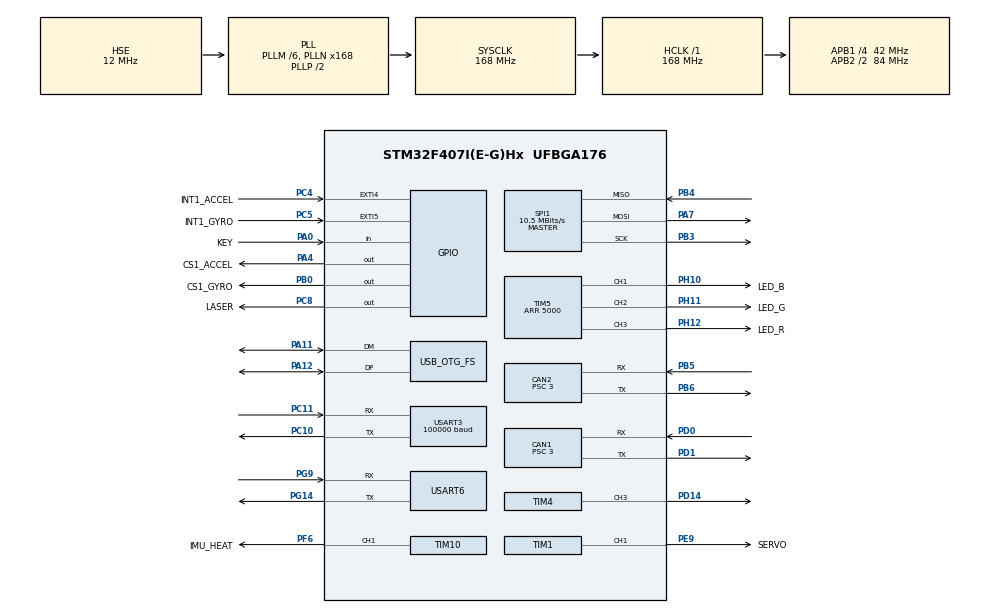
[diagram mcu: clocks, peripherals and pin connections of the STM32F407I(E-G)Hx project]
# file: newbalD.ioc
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CAN1.BS1=CAN_BS1_11TQ
CAN1.BS2=CAN_BS2_2TQ
CAN1.CalculateBaudRate=1000000
CAN1.CalculateTimeBit=1000
CAN1.CalculateTimeQuantum=71.42857142857143
CAN1.Prescaler=3
CAN2.BS1=CAN_BS1_11TQ
CAN2.BS2=CAN_BS2_2TQ
CAN2.CalculateBaudRate=1000000
CAN2.CalculateTimeBit=1000
CAN2.CalculateTimeQuantum=71.42857142857143
CAN2.Prescaler=3
Dma.Request0=SPI1_RX
Dma.Request1=SPI1_TX
Dma.Request2=USART3_RX
Dma.Request3=USART6_RX
Dma.Request4=USART6_TX
Dma.SPI1_RX.0.Direction=DMA_PERIPH_TO_MEMORY
Dma.SPI1_RX.0.FIFOMode=DMA_FIFOMODE_DISABLE
Dma.SPI1_RX.0.Instance=DMA2_Stream2
Dma.SPI1_RX.0.MemDataAlignment=DMA_MDATAALIGN_BYTE
Dma.SPI1_RX.0.MemInc=DMA_MINC_ENABLE
Dma.SPI1_RX.0.Mode=DMA_NORMAL
Dma.SPI1_RX.0.PeriphDataAlignment=DMA_PDATAALIGN_BYTE
Dma.SPI1_RX.0.PeriphInc=DMA_PINC_DISABLE
Dma.SPI1_RX.0.Priority=DMA_PRIORITY_VERY_HIGH
Dma.SPI1_TX.1.Direction=DMA_MEMORY_TO_PERIPH
Dma.SPI1_TX.1.FIFOMode=DMA_FIFOMODE_DISABLE
Dma.SPI1_TX.1.Instance=DMA2_Stream3
Dma.SPI1_TX.1.MemDataAlignment=DMA_MDATAALIGN_BYTE
Dma.SPI1_TX.1.MemInc=DMA_MINC_ENABLE
Dma.SPI1_TX.1.Mode=DMA_NORMAL
Dma.SPI1_TX.1.PeriphDataAlignment=DMA_PDATAALIGN_BYTE
Dma.SPI1_TX.1.PeriphInc=DMA_PINC_DISABLE
Dma.SPI1_TX.1.Priority=DMA_PRIORITY_HIGH
Dma.USART3_RX.2.Direction=DMA_PERIPH_TO_MEMORY
Dma.USART3_RX.2.FIFOMode=DMA_FIFOMODE_DISABLE
Dma.USART3_RX.2.Instance=DMA1_Stream1
Dma.USART3_RX.2.MemDataAlignment=DMA_MDATAALIGN_BYTE
Dma.USART3_RX.2.MemInc=DMA_MINC_ENABLE
Dma.USART3_RX.2.Mode=DMA_CIRCULAR
Dma.USART3_RX.2.PeriphDataAlignment=DMA_PDATAALIGN_BYTE
Dma.USART3_RX.2.PeriphInc=DMA_PINC_DISABLE
Dma.USART3_RX.2.Priority=DMA_PRIORITY_VERY_HIGH
Dma.USART6_RX.3.Direction=DMA_PERIPH_TO_MEMORY
Dma.USART6_RX.3.FIFOMode=DMA_FIFOMODE_DISABLE
Dma.USART6_RX.3.Instance=DMA2_Stream1
Dma.USART6_RX.3.MemDataAlignment=DMA_MDATAALIGN_BYTE
Dma.USART6_RX.3.MemInc=DMA_MINC_ENABLE
Dma.USART6_RX.3.Mode=DMA_CIRCULAR
Dma.USART6_RX.3.PeriphDataAlignment=DMA_PDATAALIGN_BYTE
Dma.USART6_RX.3.PeriphInc=DMA_PINC_DISABLE
Dma.USART6_RX.3.Priority=DMA_PRIORITY_HIGH
Dma.USART6_TX.4.Direction=DMA_MEMORY_TO_PERIPH
Dma.USART6_TX.4.FIFOMode=DMA_FIFOMODE_DISABLE
Dma.USART6_TX.4.Instance=DMA2_Stream6
Dma.USART6_TX.4.MemDataAlignment=DMA_MDATAALIGN_BYTE
Dma.USART6_TX.4.MemInc=DMA_MINC_ENABLE
Dma.USART6_TX.4.Mode=DMA_CIRCULAR
Dma.USART6_TX.4.PeriphDataAlignment=DMA_PDATAALIGN_BYTE
Dma.USART6_TX.4.PeriphInc=DMA_PINC_DISABLE
Dma.USART6_TX.4.Priority=DMA_PRIORITY_MEDIUM
FREERTOS.INCLUDE_eTaskGetState=1
FREERTOS.INCLUDE_pcTaskGetTaskName=1
FREERTOS.INCLUDE_uxTaskGetStackHighWaterMark=1
FREERTOS.INCLUDE_vTaskCleanUpResources=1
FREERTOS.INCLUDE_vTaskDelayUntil=1
FREERTOS.INCLUDE_xEventGroupSetBitFromISR=1
FREERTOS.INCLUDE_xQueueGetMutexHolder=1
FREERTOS.INCLUDE_xSemaphoreGetMutexHolder=1
FREERTOS.INCLUDE_xTaskAbortDelay=1
FREERTOS.INCLUDE_xTaskGetCurrentTaskHandle=1
FREERTOS.INCLUDE_xTaskGetHandle=1
FREERTOS.INCLUDE_xTimerPendFunctionCall=1
FREERTOS.Tasks01=INSTask,3,1024,StartINSTask,Default,NULL,Dynamic,NULL,NULL;ChassisTask,0,256,StartChassisTask,Default,NULL,Dynamic,NULL,NULL;ModuleTask,0,256,StartModuleTask,Default,NULL,Dynamic,NULL,NULL;PIDTask,-2,256,StartPIDTask,Default,NULL,Dynamic,NULL,NULL;MasterLinkTask,1,256,StartMasterLinkTask,Default,NULL,Dynamic,NULL,NULL;Refree_Task,0,256,StartRefree,Default,NULL,Dynamic,NULL,NULL
FREERTOS.configTOTAL_HEAP_SIZE=24576
FREERTOS.configUSE_TIMERS=1
Mcu.Family=STM32F4
Mcu.Name=STM32F407I(E-G)Hx
Mcu.Package=UFBGA176
NVIC.CAN1_RX0_IRQn=true\:5\:0\:false\:false\:true\:true\:true\:true\:true
NVIC.CAN2_RX1_IRQn=true\:5\:0\:false\:false\:true\:true\:true\:true\:true
NVIC.DMA1_Stream1_IRQn=true\:5\:0\:false\:false\:true\:true\:false\:true\:true
NVIC.DMA2_Stream1_IRQn=true\:5\:0\:false\:false\:true\:true\:false\:true\:true
NVIC.DMA2_Stream2_IRQn=true\:5\:0\:false\:false\:true\:false\:false\:true\:true
NVIC.DMA2_Stream3_IRQn=true\:5\:0\:false\:false\:true\:true\:false\:true\:true
NVIC.DMA2_Stream6_IRQn=true\:5\:0\:false\:false\:true\:true\:false\:true\:true
NVIC.EXTI4_IRQn=true\:5\:0\:false\:false\:true\:true\:true\:true\:true
NVIC.EXTI9_5_IRQn=true\:5\:0\:false\:false\:true\:true\:true\:true\:true
NVIC.OTG_FS_IRQn=true\:5\:0\:false\:false\:true\:true\:true\:true\:true
NVIC.PriorityGroup=NVIC_PRIORITYGROUP_4
NVIC.TIM8_TRG_COM_TIM14_IRQn=true\:15\:0\:false\:false\:true\:false\:false\:true\:true
NVIC.TimeBase=TIM8_TRG_COM_TIM14_IRQn
NVIC.TimeBaseIP=TIM14
NVIC.USART3_IRQn=true\:5\:0\:true\:false\:true\:true\:true\:true\:true
NVIC.USART6_IRQn=true\:5\:0\:false\:false\:true\:true\:true\:true\:true
PA0-WKUP.GPIO_Label=KEY
PA0-WKUP.GPIO_PuPd=GPIO_PULLUP
PA0-WKUP.Signal=GPIO_Input
PA11.Mode=Device_Only
PA11.Signal=USB_OTG_FS_DM
PA12.Mode=Device_Only
PA12.Signal=USB_OTG_FS_DP
PA13.Mode=Serial_Wire
PA13.Signal=SYS_JTMS-SWDIO
PA14.Mode=Serial_Wire
PA14.Signal=SYS_JTCK-SWCLK
PA4.GPIO_Label=CS1_ACCEL
PA4.GPIO_PuPd=GPIO_PULLUP
PA4.GPIO_Speed=GPIO_SPEED_FREQ_HIGH
PA4.PinState=GPIO_PIN_SET
PA4.Signal=GPIO_Output
PA7.GPIO_PuPd=GPIO_PULLUP
PA7.Mode=Full_Duplex_Master
PA7.Signal=SPI1_MOSI
PB0.GPIO_Label=CS1_GYRO
PB0.GPIO_PuPd=GPIO_PULLUP
PB0.GPIO_Speed=GPIO_SPEED_FREQ_HIGH
PB0.PinState=GPIO_PIN_SET
PB0.Signal=GPIO_Output
PB3.GPIO_PuPd=GPIO_PULLUP
PB3.Mode=Full_Duplex_Master
PB3.Signal=SPI1_SCK
PB4.GPIO_PuPd=GPIO_PULLUP
PB4.Mode=Full_Duplex_Master
PB4.Signal=SPI1_MISO
PB5.Mode=CAN_Activate
PB5.Signal=CAN2_RX
PB6.Mode=CAN_Activate
PB6.Signal=CAN2_TX
PC10.Mode=Asynchronous
PC10.Signal=USART3_TX
PC11.Mode=Asynchronous
PC11.Signal=USART3_RX
PC4.GPIO_Label=INT1_ACCEL
PC4.GPIO_ModeDefaultEXTI=GPIO_MODE_IT_FALLING
PC4.GPIO_PuPd=GPIO_PULLUP
PC4.Signal=GPXTI4
PC5.GPIO_Label=INT1_GYRO
PC5.GPIO_ModeDefaultEXTI=GPIO_MODE_IT_FALLING
PC5.GPIO_PuPd=GPIO_PULLUP
PC5.Signal=GPXTI5
PC8.GPIO_Label=LASER
PC8.Signal=GPIO_Output
PD0.Mode=CAN_Activate
PD0.Signal=CAN1_RX
PD1.Mode=CAN_Activate
PD1.Signal=CAN1_TX
PD14.Signal=S_TIM4_CH3
PE9.GPIO_Label=SERVO
PE9.Signal=S_TIM1_CH1
PF6.GPIO_Label=IMU_HEAT
PF6.GPIO_PuPd=GPIO_PULLUP
PF6.GPIO_Speed=GPIO_SPEED_FREQ_HIGH
PF6.Signal=S_TIM10_CH1
PG14.Mode=Asynchronous
PG14.Signal=USART6_TX
PG9.Mode=Asynchronous
PG9.Signal=USART6_RX
PH0-OSC_IN.Mode=HSE-External-Oscillator
PH0-OSC_IN.Signal=RCC_OSC_IN
PH1-OSC_OUT.Mode=HSE-External-Oscillator
PH1-OSC_OUT.Signal=RCC_OSC_OUT
PH10.GPIO_Label=LED_B
PH10.Signal=S_TIM5_CH1
PH11.GPIO_Label=LED_G
PH11.Signal=S_TIM5_CH2
PH12.GPIO_Label=LED_R
PH12.Signal=S_TIM5_CH3
ProjectManager.HeapSize=0x2000
ProjectManager.StackSize=0x2000
ProjectManager.TargetToolchain=MDK-ARM V5.32
RCC.48MHZClocksFreq_Value=48000000
RCC.AHBFreq_Value=168000000
RCC.APB1CLKDivider=RCC_HCLK_DIV4
RCC.APB1Freq_Value=42000000
RCC.APB1TimFreq_Value=84000000
RCC.APB2CLKDivider=RCC_HCLK_DIV2
RCC.APB2Freq_Value=84000000
RCC.APB2TimFreq_Value=168000000
RCC.CortexFreq_Value=168000000
RCC.HCLKFreq_Value=168000000
RCC.HSE_VALUE=12000000
RCC.HSI_VALUE=16000000
RCC.LSE_VALUE=32768
RCC.PLLM=6
RCC.PLLN=168
RCC.PLLQ=7
RCC.SYSCLKFreq_VALUE=168000000
RCC.SYSCLKSource=RCC_SYSCLKSOURCE_PLLCLK
RCC.VCOOutputFreq_Value=336000000
SH.S_TIM10_CH1.0=TIM10_CH1,PWM Generation1 CH1
SH.S_TIM1_CH1.0=TIM1_CH1,PWM Generation1 CH1
SH.S_TIM4_CH3.0=TIM4_CH3,PWM Generation3 CH3
SH.S_TIM5_CH1.0=TIM5_CH1,PWM Generation1 CH1
SH.S_TIM5_CH2.0=TIM5_CH2,PWM Generation2 CH2
SH.S_TIM5_CH3.0=TIM5_CH3,PWM Generation3 CH3
SPI1.BaudRatePrescaler=SPI_BAUDRATEPRESCALER_8
SPI1.CLKPhase=SPI_PHASE_2EDGE
SPI1.CLKPolarity=SPI_POLARITY_HIGH
SPI1.CalculateBaudRate=10.5 MBits/s
SPI1.Direction=SPI_DIRECTION_2LINES
SPI1.Mode=SPI_MODE_MASTER
SPI1.VirtualType=VM_MASTER
TIM1.Channel-PWM\ Generation1\ CH1=TIM_CHANNEL_1
TIM1.Period=20000-1
TIM1.Prescaler=168-1
TIM10.Channel=TIM_CHANNEL_1
TIM10.Period=2000-1
TIM10.Prescaler=84-1
TIM2.Prescaler=84-1
TIM4.AutoReloadPreload=TIM_AUTORELOAD_PRELOAD_DISABLE
TIM4.Channel-PWM\ Generation3\ CH3=TIM_CHANNEL_3
TIM4.Period=10000-1
TIM4.Prescaler=1
TIM5.Channel-PWM\ Generation1\ CH1=TIM_CHANNEL_1
TIM5.Channel-PWM\ Generation2\ CH2=TIM_CHANNEL_2
TIM5.Channel-PWM\ Generation3\ CH3=TIM_CHANNEL_3
TIM5.Period=5000
TIM6.Prescaler=84-1
USART3.BaudRate=100000
USART3.Parity=PARITY_EVEN
USART3.StopBits=STOPBITS_2
USART3.VirtualMode=VM_ASYNC
USART3.WordLength=WORDLENGTH_9B
USART6.VirtualMode=VM_ASYNC
USB_DEVICE.CLASS_NAME_FS=CDC
USB_DEVICE.VirtualMode-CDC_FS=Cdc
USB_DEVICE.VirtualModeFS=Cdc_FS
USB_OTG_FS.VirtualMode=Device_Only
VP_FREERTOS_VS_CMSIS_V1.Mode=CMSIS_V1
VP_SYS_VS_tim14.Mode=TIM14
VP_TIM10_VS_ClockSourceINT.Mode=Enable_Timer
VP_TIM1_VS_ClockSourceINT.Mode=Internal
VP_TIM2_VS_ClockSourceINT.Mode=Internal
VP_TIM4_VS_ClockSourceINT.Mode=Internal
VP_TIM5_VS_ClockSourceINT.Mode=Internal
VP_TIM6_VS_ClockSourceINT.Mode=Enable_Timer
VP_USB_DEVICE_VS_USB_DEVICE_CDC_FS.Mode=CDC_FS
board=custom

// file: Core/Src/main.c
/* USER CODE BEGIN Header */
/**
  ******************************************************************************
  * @file           : main.c
  * @brief          : Main program body
  ******************************************************************************
  * @attention
  *
  * Copyright (c) 2024 STMicroelectronics.
  * All rights reserved.
  *
  * This software is licensed under terms that can be found in the LICENSE file
  * in the root directory of this software component.
  * If no LICENSE file comes with this software, it is provided AS-IS.
  *
  ******************************************************************************
  */
/* USER CODE END Header */
#include "main.h"
#include "cmsis_os.h"
#include "can.h"
#include "dma.h"
#include "spi.h"
#include "tim.h"
#include "usart.h"
#include "usb_device.h"
#include "gpio.h"

/* USER CODE BEGIN Includes */

#include "sys.h"
#include "app_9025.h"

/* USER CODE END Includes */

void SystemClock_Config(void);
void MX_FREERTOS_Init(void);

int main(void)
{

  /* MCU Configuration--------------------------------------------------------*/

  /* Reset of all peripherals, Initializes the Flash interface and the Systick. */
  HAL_Init();

  /* Configure the system clock */
  SystemClock_Config();

  /* Initialize all configured peripherals */
  MX_GPIO_Init();
  MX_DMA_Init();
  MX_CAN1_Init();
  MX_CAN2_Init();
  MX_SPI1_Init();
  MX_TIM1_Init();
  MX_TIM5_Init();
  MX_TIM10_Init();
  MX_USART3_UART_Init();
  MX_TIM2_Init();
  MX_TIM6_Init();
  MX_TIM4_Init();
  MX_USART6_UART_Init();
  /* USER CODE BEGIN 2 */

  SysInit();

  /* USER CODE END 2 */

  /* Call init function for freertos objects (in freertos.c) */
  MX_FREERTOS_Init();

  /* Start scheduler */
  osKernelStart();

  /* We should never get here as control is now taken by the scheduler */
  /* Infinite loop */
  /* USER CODE BEGIN WHILE */
  while (1)
  {
    //Set_MF9025_MotorCurrent(&WheelBus,0,0,0,0);
    /* USER CODE END WHILE */

  }
}

void SystemClock_Config(void)
{
  RCC_OscInitTypeDef RCC_OscInitStruct = {0};
  RCC_ClkInitTypeDef RCC_ClkInitStruct = {0};

  /** Configure the main internal regulator output voltage
  */
  __HAL_RCC_PWR_CLK_ENABLE();
  __HAL_PWR_VOLTAGESCALING_CONFIG(PWR_REGULATOR_VOLTAGE_SCALE1);

  /** Initializes the RCC Oscillators according to the specified parameters
  * in the RCC_OscInitTypeDef structure.
  */
  RCC_OscInitStruct.OscillatorType = RCC_OSCILLATORTYPE_HSE;
  RCC_OscInitStruct.HSEState = RCC_HSE_ON;
  RCC_OscInitStruct.PLL.PLLState = RCC_PLL_ON;
  RCC_OscInitStruct.PLL.PLLSource = RCC_PLLSOURCE_HSE;
  RCC_OscInitStruct.PLL.PLLM = 6;
  RCC_OscInitStruct.PLL.PLLN = 168;
  RCC_OscInitStruct.PLL.PLLP = RCC_PLLP_DIV2;
  RCC_OscInitStruct.PLL.PLLQ = 7;
  if (HAL_RCC_OscConfig(&RCC_OscInitStruct) != HAL_OK)
  {
    Error_Handler();
  }

  /** Initializes the CPU, AHB and APB buses clocks
  */
  RCC_ClkInitStruct.ClockType = RCC_CLOCKTYPE_HCLK|RCC_CLOCKTYPE_SYSCLK
                              |RCC_CLOCKTYPE_PCLK1|RCC_CLOCKTYPE_PCLK2;
  RCC_ClkInitStruct.SYSCLKSource = RCC_SYSCLKSOURCE_PLLCLK;
  RCC_ClkInitStruct.AHBCLKDivider = RCC_SYSCLK_DIV1;
  RCC_ClkInitStruct.APB1CLKDivider = RCC_HCLK_DIV4;
  RCC_ClkInitStruct.APB2CLKDivider = RCC_HCLK_DIV2;

  if (HAL_RCC_ClockConfig(&RCC_ClkInitStruct, FLASH_LATENCY_5) != HAL_OK)
  {
    Error_Handler();
  }
}

void HAL_TIM_PeriodElapsedCallback(TIM_HandleTypeDef *htim)
{
  if (htim->Instance == TIM14) {
    HAL_IncTick();
  }
}

void Error_Handler(void)
{
  __disable_irq();
  while (1)
  {
  }
}

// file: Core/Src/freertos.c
/* USER CODE BEGIN Header */
/**
  ******************************************************************************
  * File Name          : freertos.c
  * Description        : Code for freertos applications
  ******************************************************************************
  * @attention
  *
  * Copyright (c) 2024 STMicroelectronics.
  * All rights reserved.
  *
  * This software is licensed under terms that can be found in the LICENSE file
  * in the root directory of this software component.
  * If no LICENSE file comes with this software, it is provided AS-IS.
  *
  ******************************************************************************
  */
/* USER CODE END Header */

#include "FreeRTOS.h"
#include "task.h"
#include "main.h"
#include "cmsis_os.h"

/* USER CODE BEGIN Includes */

#include "ins_task.h"
#include "chassis_task.h"
#include "slip_defend.h"
#include "referee.h"
#include "master_task.h"
/* USER CODE END Includes */

osThreadId INSTaskHandle;
osThreadId ChassisTaskHandle;
osThreadId ModuleTaskHandle;
osThreadId PIDTaskHandle;
osThreadId MasterLinkTaskHandle;
osThreadId Refree_TaskHandle;

void StartINSTask(void const * argument);
void StartChassisTask(void const * argument);
void StartModuleTask(void const * argument);
void StartPIDTask(void const * argument);
void StartMasterLinkTask(void const * argument);
void StartRefree(void const * argument);

extern void MX_USB_DEVICE_Init(void);
void MX_FREERTOS_Init(void); /* (MISRA C 2004 rule 8.1) */

/* GetIdleTaskMemory prototype (linked to static allocation support) */
void vApplicationGetIdleTaskMemory( StaticTask_t **ppxIdleTaskTCBBuffer, StackType_t **ppxIdleTaskStackBuffer, uint32_t *pulIdleTaskStackSize );

/* GetTimerTaskMemory prototype (linked to static allocation support) */
void vApplicationGetTimerTaskMemory( StaticTask_t **ppxTimerTaskTCBBuffer, StackType_t **ppxTimerTaskStackBuffer, uint32_t *pulTimerTaskStackSize );

/* USER CODE BEGIN GET_IDLE_TASK_MEMORY */
static StaticTask_t xIdleTaskTCBBuffer;
static StackType_t xIdleStack[configMINIMAL_STACK_SIZE];

void vApplicationGetIdleTaskMemory( StaticTask_t **ppxIdleTaskTCBBuffer, StackType_t **ppxIdleTaskStackBuffer, uint32_t *pulIdleTaskStackSize )
{
  *ppxIdleTaskTCBBuffer = &xIdleTaskTCBBuffer;
  *ppxIdleTaskStackBuffer = &xIdleStack[0];
  *pulIdleTaskStackSize = configMINIMAL_STACK_SIZE;
  /* place for user code */
}
/* USER CODE END GET_IDLE_TASK_MEMORY */

/* USER CODE BEGIN GET_TIMER_TASK_MEMORY */
static StaticTask_t xTimerTaskTCBBuffer;
static StackType_t xTimerStack[configTIMER_TASK_STACK_DEPTH];

void vApplicationGetTimerTaskMemory( StaticTask_t **ppxTimerTaskTCBBuffer, StackType_t **ppxTimerTaskStackBuffer, uint32_t *pulTimerTaskStackSize )
{
  *ppxTimerTaskTCBBuffer = &xTimerTaskTCBBuffer;
  *ppxTimerTaskStackBuffer = &xTimerStack[0];
  *pulTimerTaskStackSize = configTIMER_TASK_STACK_DEPTH;
  /* place for user code */
}
/* USER CODE END GET_TIMER_TASK_MEMORY */

void MX_FREERTOS_Init(void) {

  /* Create the thread(s) */
  /* definition and creation of INSTask */
  osThreadDef(INSTask, StartINSTask, osPriorityRealtime, 0, 1024);
  INSTaskHandle = osThreadCreate(osThread(INSTask), NULL);

  /* definition and creation of ChassisTask */
  osThreadDef(ChassisTask, StartChassisTask, osPriorityNormal, 0, 256);
  ChassisTaskHandle = osThreadCreate(osThread(ChassisTask), NULL);

  /* definition and creation of ModuleTask */
  osThreadDef(ModuleTask, StartModuleTask, osPriorityNormal, 0, 256);
  ModuleTaskHandle = osThreadCreate(osThread(ModuleTask), NULL);

  /* definition and creation of PIDTask */
  osThreadDef(PIDTask, StartPIDTask, osPriorityLow, 0, 256);
  PIDTaskHandle = osThreadCreate(osThread(PIDTask), NULL);

  /* definition and creation of MasterLinkTask */
  osThreadDef(MasterLinkTask, StartMasterLinkTask, osPriorityAboveNormal, 0, 256);
  MasterLinkTaskHandle = osThreadCreate(osThread(MasterLinkTask), NULL);

  /* definition and creation of Refree_Task */
  osThreadDef(Refree_Task, StartRefree, osPriorityNormal, 0, 256);
  Refree_TaskHandle = osThreadCreate(osThread(Refree_Task), NULL);

}

void StartINSTask(void const * argument)
{
  /* init code for USB_DEVICE */
  MX_USB_DEVICE_Init();
  /* USER CODE BEGIN StartINSTask */
  INS_Init();
  /* Infinite loop */
  for(;;)
  {
    INS_Task();
    osDelay(1);
  }
  /* USER CODE END StartINSTask */
}

void StartChassisTask(void const * argument)
{
  /* USER CODE BEGIN StartChassisTask */

  ChassisInit();
  /* 用于保存上次时间。调用后系统自动更新 */
  static portTickType PreviousWakeTime;
  /* 设置延时时间，将时间转为节拍�? */
  const portTickType TimeIncrement = pdMS_TO_TICKS(2);
  /* 获取当前系统时间 */
  PreviousWakeTime = osKernelSysTick();

  /* Infinite loop */
  for(;;)
  {
    ChassisTask();
    /* 调用绝对延时函数,任务时间间隔�?1个tick */
    osDelayUntil(&PreviousWakeTime,TimeIncrement);
    // osDelay(1);
  }
  /* USER CODE END StartChassisTask */
}

void StartModuleTask(void const * argument)
{
  /* USER CODE BEGIN StartModuleTask */
  slip_defence_init();
  /* Infinite loop */
  for(;;)
  {
   slip_Defence_task();

    osDelay(1);
  }
  /* USER CODE END StartModuleTask */
}

void StartPIDTask(void const * argument)
{
  for(;;)
  {
    osDelay(1);
  }
}

void StartMasterLinkTask(void const * argument)
{
  /* USER CODE BEGIN StartMasterLinkTask */
  /* Infinite loop */
  for(;;)
  {
    MasterLink_Task();
    osDelay(5);
  }
  /* USER CODE END StartMasterLinkTask */
}

void StartRefree(void const * argument)
{
  /* USER CODE BEGIN StartRefree */
    refereeINIT();
  /* Infinite loop */
  for(;;)
  {

    referee_unpack_fifo_data();
    RefereeDataUpdate(&RefereeData);
    osDelay(5);
  }
  /* USER CODE END StartRefree */
}
